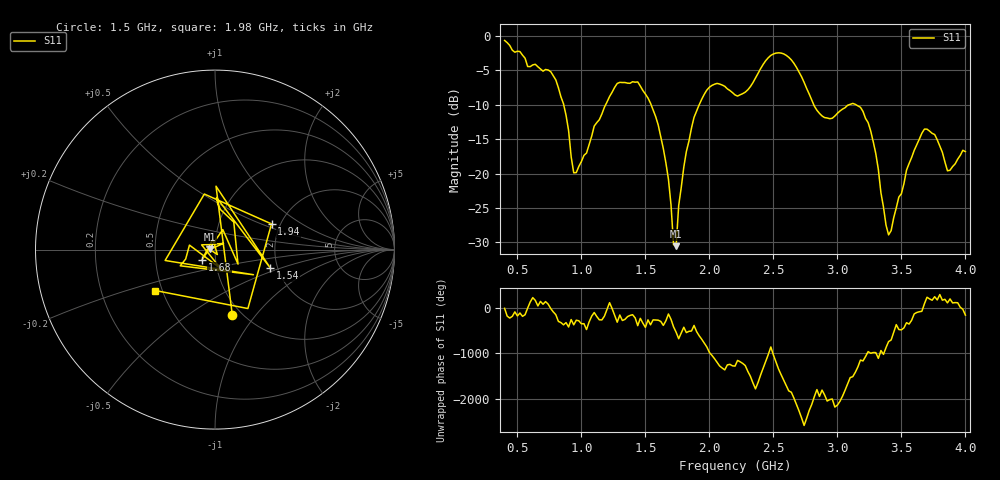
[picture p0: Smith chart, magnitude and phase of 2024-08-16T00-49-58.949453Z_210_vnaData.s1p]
!Created with skrf (http://scikit-rf.org).
# Hz S RI R 50.0
!freq ReS11 ImS11
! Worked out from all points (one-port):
!   181 points, 400 MHz to 4 GHz, reference 50 ohm
!   lowest |S11| = -30.5 dB at 1.74 GHz (marker M1), VSWR 1.06, Z = 47.1 + j0.105 ohm
!   |S11| at or under -10 dB: 861.5 MHz to 1.19 GHz (328.4 MHz wide, 32 % of centre); 1.544 GHz to 1.921 GHz (376.5 MHz wide, 21.7 % of centre); 3.143 GHz to end of sweep (the widest 3 of 4)
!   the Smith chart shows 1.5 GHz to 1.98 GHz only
!   S11 on the Smith chart (normalised r, x): 1.5 GHz: 0.90, -0.77; 1.54 GHz: 1.83, -0.41; 1.68 GHz: 0.86, -0.10; 1.94 GHz: 1.80, +0.58; 1.98 GHz: 0.46, -0.25
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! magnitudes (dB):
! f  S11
! 400 MHz  -0.7
! 760 MHz  -5.2
! 860 MHz  -9.9
! 940 MHz  -19.9
! 960 MHz  -19.9
! 1.3 GHz  -6.8
! 1.5 GHz  -8.5
! 1.54 GHz  -9.8
! 1.6 GHz  -12.9
! 1.68 GHz  -20.8
! 1.72 GHz  -30.3
! 1.74 GHz  -30.5
! 1.76 GHz  -24.6
! 1.82 GHz  -16.8
! 1.94 GHz  -9.2
! 1.98 GHz  -7.9
! 2.2 GHz  -8.6
! 2.5 GHz  -2.7
! 2.66 GHz  -4.0
! 2.88 GHz  -11.6
! 3.1 GHz  -10.0
! 3.26 GHz  -13.8
! 3.4 GHz  -28.9
! 3.56 GHz  -18.6
! 3.68 GHz  -13.6
! 3.76 GHz  -14.3
! 3.86 GHz  -19.6
! 4 GHz  -16.8
